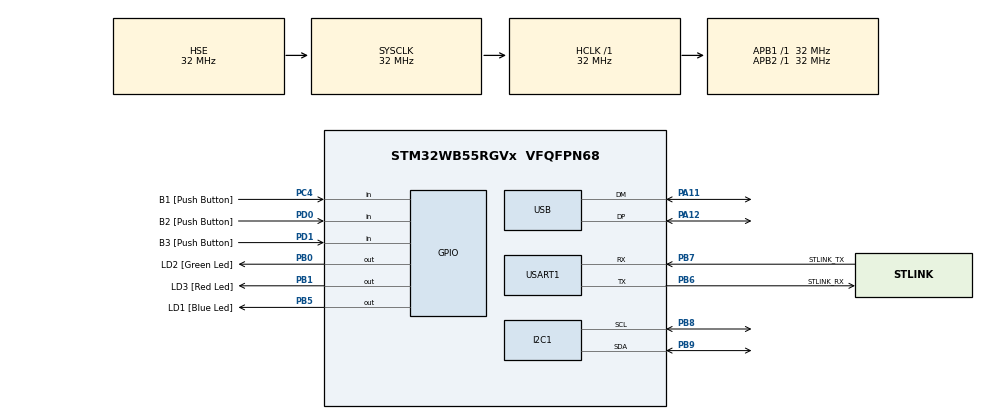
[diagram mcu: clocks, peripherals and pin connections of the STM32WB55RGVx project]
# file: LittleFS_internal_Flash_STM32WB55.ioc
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I2C1.Timing=0x00B07CB4
Mcu.Family=STM32WB
Mcu.Name=STM32WB55RGVx
Mcu.Package=VFQFPN68
NVIC.PriorityGroup=NVIC_PRIORITYGROUP_4
OSC_IN.Mode=HSE-External-Oscillator
OSC_IN.Signal=RCC_OSC_IN
OSC_OUT.Mode=HSE-External-Oscillator
OSC_OUT.Signal=RCC_OSC_OUT
PA11.Mode=Device
PA11.Signal=USB_DM
PA12.Mode=Device
PA12.Signal=USB_DP
PA13.GPIO_Label=JTMS
PA13.Mode=Serial_Wire
PA13.Signal=SYS_JTMS-SWDIO
PA14.GPIO_Label=JTCK
PA14.Mode=Serial_Wire
PA14.Signal=SYS_JTCK-SWCLK
PB0.GPIO_Label=LD2 [Green Led]
PB0.Signal=GPIO_Output
PB1.GPIO_Label=LD3 [Red Led]
PB1.Signal=GPIO_Output
PB3.GPIO_Label=JTDO
PB3.Signal=SYS_JTDO-SWO
PB5.GPIO_Label=LD1 [Blue Led]
PB5.Signal=GPIO_Output
PB6.GPIO_Label=STLINK_RX
PB6.GPIO_PuPd=GPIO_PULLUP
PB6.Mode=Asynchronous
PB6.Signal=USART1_TX
PB7.GPIO_Label=STLINK_TX
PB7.GPIO_PuPd=GPIO_PULLUP
PB7.Mode=Asynchronous
PB7.Signal=USART1_RX
PB8.Mode=I2C
PB8.Signal=I2C1_SCL
PB9.Mode=I2C
PB9.Signal=I2C1_SDA
PC13.Mode=SYS_WakeUp1
PC13.Signal=SYS_WKUP2
PC14-OSC32_IN.Mode=LSE-External-Oscillator
PC14-OSC32_IN.Signal=RCC_OSC32_IN
PC15-OSC32_OUT.Mode=LSE-External-Oscillator
PC15-OSC32_OUT.Signal=RCC_OSC32_OUT
PC4.GPIO_Label=B1 [Push Button]
PC4.Signal=GPIO_Input
PD0.GPIO_Label=B2 [Push Button]
PD0.Signal=GPIO_Input
PD1.GPIO_Label=B3 [Push Button]
PD1.Signal=GPIO_Input
ProjectManager.HeapSize=0x200
ProjectManager.StackSize=0x400
ProjectManager.TargetToolchain=STM32CubeIDE
RCC.ADCFreq_Value=48000000
RCC.AHBFreq_Value=32000000
RCC.APB1Freq_Value=32000000
RCC.APB1TimFreq_Value=32000000
RCC.APB2Freq_Value=32000000
RCC.APB2TimFreq_Value=32000000
RCC.APB3Freq_Value=16000000
RCC.CortexFreq_Value=32000000
RCC.HCLKFreq_Value=32000000
RCC.HSE_VALUE=32000000
RCC.HSI48_VALUE=48000000
RCC.HSI_VALUE=16000000
RCC.LSE_Drive_Capability=RCC_LSEDRIVE_LOW
RCC.PLLN=32
RCC.PLLSAI1N=24
RCC.SMPSCLockSelection=RCC_SMPSCLKSOURCE_HSI
RCC.SMPSCLockSelectionVirtual=RCC_SMPSCLKSOURCE_HSI
RCC.SMPSCLockSelectionVirtualVirtual=RCC_SMPSCLKSOURCE_HSI
RCC.SMPSDivider=1
RCC.SYSCLKFreq_VALUE=32000000
RCC.SYSCLKSource=RCC_SYSCLKSOURCE_HSE
RCC.USBFreq_Value=48000000
RCC.VCOOutputFreq_Value=128000000
RTC.Format=RTC_FORMAT_BIN
RTC.WeekDay=RTC_WEEKDAY_SUNDAY
USART1.VirtualMode-Asynchronous=VM_ASYNC
USART1.WordLength=WORDLENGTH_8B
VP_MEMORYMAP_VS_MEMORYMAP.Mode=CurAppReg
VP_RTC_VS_RTC_Activate.Mode=RTC_Enabled
VP_RTC_VS_RTC_Calendar.Mode=RTC_Calendar
board=NUCLEO-WB55RG

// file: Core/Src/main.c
/* USER CODE BEGIN Header */
/**
  ******************************************************************************
  * @file           : main.c
  * @brief          : Main program body
  ******************************************************************************
  * @attention
  *
  * Copyright (c) 2024 STMicroelectronics.
  * All rights reserved.
  *
  * This software is licensed under terms that can be found in the LICENSE file
  * in the root directory of this software component.
  * If no LICENSE file comes with this software, it is provided AS-IS.
  *
  ******************************************************************************
  */
/* USER CODE END Header */
#include "main.h"
#include "string.h"

/* USER CODE BEGIN Includes */
#include "lfs.h"
/* USER CODE END Includes */

/* USER CODE BEGIN PD */
#define LFS_START_ADDR  0x08070000  // Starting address for LittleFS storage
#define LFS_END_ADDR    0x0807FFFF  // Ending address for LittleFS storage
#define LFS_BLOCK_SIZE  4096      // Flash block (page) size (typically 4KB)
#define LFS_BLOCK_COUNT ((LFS_END_ADDR - LFS_START_ADDR + 1) / LFS_BLOCK_SIZE)
#define UART_BUFFER_SIZE 256

/* USER CODE END PD */

I2C_HandleTypeDef hi2c1;

RTC_HandleTypeDef hrtc;

UART_HandleTypeDef huart1;

PCD_HandleTypeDef hpcd_USB_FS;

/* USER CODE BEGIN PV */
const char *labels[2] = {"0", "1"}; //0 = bad 1 = good
char uartBuffer[UART_BUFFER_SIZE];
/* USER CODE END PV */

void SystemClock_Config(void);
void PeriphCommonClock_Config(void);
static void MX_GPIO_Init(void);
static void MX_USART1_UART_Init(void);
static void MX_USB_PCD_Init(void);
static void MX_I2C1_Init(void);
static void MX_RTC_Init(void);

/* USER CODE BEGIN 0 */
lfs_t lfs;
lfs_file_t file;

int _write(int32_t file, uint8_t *ptr, int32_t len)
{
    for (int i = 0; i < len; i++)
    {
        ITM_SendChar(*ptr++);
    }
    return len;
}

// Flash read, write, and erase functions
int user_provided_block_device_read(const struct lfs_config *c, lfs_block_t block,
                                    lfs_off_t off, void *readBuffer, lfs_size_t size) {
//    printf("Reading block %d, offset %d, size %d\n", block, off, size);
    memcpy(readBuffer, (const void*)(LFS_START_ADDR + (block *c->block_size) + off), size);
    return LFS_ERR_OK;
}

int user_provided_block_device_prog(const struct lfs_config *c, lfs_block_t block,
                                    lfs_off_t off, const void *readBuffer, lfs_size_t size) {
//    printf("Programming block %d, offset %d, size %d\n", block, off, size);
    HAL_FLASH_Unlock();
    for (size_t i = 0; i < size; i += 8) {
        HAL_FLASH_Program(FLASH_TYPEPROGRAM_DOUBLEWORD,
                          LFS_START_ADDR + (block *c->block_size) + off + i,
                          *(uint64_t *)(readBuffer + i));
    }
    HAL_FLASH_Lock();
    return LFS_ERR_OK;
}

int user_provided_block_device_erase(const struct lfs_config *c, lfs_block_t block) {
    FLASH_EraseInitTypeDef erase_init;
    uint32_t page_error = 0;

    HAL_FLASH_Unlock();

    uint32_t page = (LFS_START_ADDR + (block * c->block_size) - FLASH_BASE) / FLASH_PAGE_SIZE;
    erase_init.TypeErase = FLASH_TYPEERASE_PAGES;
    erase_init.Page = page;
    erase_init.NbPages = 1;

    HAL_FLASHEx_Erase(&erase_init, &page_error);

    HAL_FLASH_Lock();
    return 0;
}

int user_provided_block_device_sync(const struct lfs_config *c) {
    // No special sync logic needed, return 0
    return 0;
}

// Configuration struct
struct lfs_config cfg = {
    // Block device operations
    .read  = user_provided_block_device_read,
    .prog  = user_provided_block_device_prog,
    .erase = user_provided_block_device_erase,
    .sync  = user_provided_block_device_sync,

	// Start and size of LittleFS storage region
	.block_size = LFS_BLOCK_SIZE,
	.block_count = LFS_BLOCK_COUNT,
	.block_cycles = 100,  // You can adjust this based on expected erase cycles

	// Adjust according to your flash characteristics
	.read_size = 4,        // Smallest read size (e.g., 4 bytes)
	.prog_size = 4,        // Smallest programmable size (e.g., 4 bytes)
	.cache_size = 32,      // Adjust cache size (typical value is fine)
	.lookahead_size = 32,  // Adjust lookahead size (typical value is fine)

};

void set_date (uint8_t year, uint8_t month, uint8_t date, uint8_t day)  // monday = 1
{
	RTC_DateTypeDef sDate = {0};
	sDate.WeekDay = day;
	sDate.Month = month;
	sDate.Date = date;
	sDate.Year = year;
	if (HAL_RTC_SetDate(&hrtc, &sDate, RTC_FORMAT_BIN) != HAL_OK)
	{
		Error_Handler();
	}

	HAL_RTCEx_BKUPWrite(&hrtc, RTC_BKP_DR1, 5);  // backup register
}

void set_time (uint8_t hr, uint8_t min, uint8_t sec)
{
	RTC_TimeTypeDef sTime = {0};
	sTime.Hours = hr;
	sTime.Minutes = min;
	sTime.Seconds = sec;
	sTime.DayLightSaving = RTC_DAYLIGHTSAVING_NONE;
	sTime.StoreOperation = RTC_STOREOPERATION_RESET;
	if (HAL_RTC_SetTime(&hrtc, &sTime, RTC_FORMAT_BIN) != HAL_OK)
	{
		Error_Handler();
	}
}

void get_time_date(char *time, char *date)
{
  RTC_DateTypeDef gDate;
  RTC_TimeTypeDef gTime;

  /* Get the RTC current Time */
  HAL_RTC_GetTime(&hrtc, &gTime, RTC_FORMAT_BIN);
  /* Get the RTC current Date */
  HAL_RTC_GetDate(&hrtc, &gDate, RTC_FORMAT_BIN);

  /* Display time Format: hh:mm:ss */
  sprintf((char*)time,"%02d:%02d:%02d",gTime.Hours, gTime.Minutes, gTime.Seconds);

  /* Display date Format: dd-mm-yyyy */
  sprintf((char*)date,"%02d-%02d-%2d",gDate.Date, gDate.Month, 2000 + gDate.Year);
}

char timeData[15];
char dateData[15];

void transmit_file_via_uart(const char* filename) {
    lfs_file_t file;
    int err;

    // Open the file for reading
    err = lfs_file_open(&lfs, &file, filename, LFS_O_RDONLY);
    if (err) {
        printf("Failed to open file '%s' for reading: %d\n", filename, err);
        return;
    }

    // Determine the size of the file
    struct lfs_info info;
    err = lfs_stat(&lfs, filename, &info);
    if (err) {
        printf("Failed to stat file '%s': %d\n", filename, err);
        lfs_file_close(&lfs, &file);
        return;
    }

    printf("Transmitting file '%s' (%lu bytes)...\n", filename, info.size);

    // Allocate a buffer to read file data
    size_t bytes_to_read = info.size;
    size_t chunk_size = UART_BUFFER_SIZE; // Transmit in chunks
    size_t total_transmitted = 0;

    while (bytes_to_read > 0) {
        size_t current_chunk = (bytes_to_read > chunk_size) ? chunk_size : bytes_to_read;

        // Read a chunk of data from the file
        err = lfs_file_read(&lfs, &file, uartBuffer, current_chunk);
        if (err < 0) {
            printf("Failed to read from file: %d\n", err);
            lfs_file_close(&lfs, &file);
            return;
        }

        // Transmit the chunk over UART
        err = HAL_UART_Transmit(&huart1, (uint8_t*)uartBuffer, err, HAL_MAX_DELAY);
        if (err != HAL_OK) {
            printf("UART Transmit Error: %d\n", err);
            lfs_file_close(&lfs, &file);
            return;
        }

        total_transmitted += err;
        bytes_to_read -= err;
    }

    printf("File transmission complete. Total bytes transmitted: %lu\n", total_transmitted);

    // Close the file
    lfs_file_close(&lfs, &file);
}
/* USER CODE END 0 */

int main(void)
{

  /* MCU Configuration--------------------------------------------------------*/

  /* Reset of all peripherals, Initializes the Flash interface and the Systick. */
  HAL_Init();

  /* Configure the system clock */
  SystemClock_Config();

  /* Configure the peripherals common clocks */
  PeriphCommonClock_Config();

  /* Initialize all configured peripherals */
  MX_GPIO_Init();
  MX_USART1_UART_Init();
  MX_USB_PCD_Init();
  MX_I2C1_Init();
  MX_RTC_Init();
  /* USER CODE BEGIN 2 */
  // readBuffer to store read data
  char readBuffer[200];
  char writeBuffer[45];
   // Unlock the Flash memory for writing
  HAL_FLASH_Unlock();

  //=============================Mount the filesystem
  int err = lfs_mount(&lfs, &cfg);
  if (err) {
	  lfs_format(&lfs, &cfg);
	  lfs_mount(&lfs, &cfg);
  }

  if (HAL_RTCEx_BKUPRead(&hrtc, RTC_BKP_DR1) != 5)
   {
     HAL_GPIO_TogglePin(LD2_GPIO_Port, LD2_Pin);
     HAL_Delay(100);
     set_time(15, 27, 00);
     set_date(24, 10, 2, 7);
     //=========================== write log coloumn
   const char *data1 = "timestamp,label,data1,data2 \r\n!";
   lfs_file_open(&lfs, &file, "result1.csv", LFS_O_WRONLY | LFS_O_CREAT | LFS_O_TRUNC);
   lfs_file_write(&lfs, &file, data1, strlen(data1));
   lfs_file_close(&lfs, &file);
   }

   else
   {
     HAL_GPIO_TogglePin(LD1_GPIO_Port, LD1_Pin);
 	HAL_Delay(100);
   }

  get_time_date(timeData, dateData);

  //===========================Append file (wronly+append)
  sprintf(writeBuffer, "%s,%s,%s,%.1f,%.1f\n", dateData, timeData, labels[1], 90.1, 19.9);
  lfs_file_open(&lfs, &file, "result1.csv", LFS_O_WRONLY | LFS_O_APPEND);
  lfs_file_write(&lfs, &file, writeBuffer, strlen(writeBuffer));
  lfs_file_close(&lfs, &file);

//  lfs_file_open(&lfs, &file, "result1.csv", LFS_O_RDONLY);
//  memset(readBuffer, 0, sizeof(readBuffer));
//  lfs_file_read(&lfs, &file, readBuffer, sizeof(readBuffer));
//  lfs_file_close(&lfs, &file);
//  HAL_UART_Transmit(&huart1, (const uint8_t*)readBuffer, sizeof(readBuffer), 100);
//  HAL_Delay(500);

  // Example: Transmit a specific file
  transmit_file_via_uart("result1.csv");
  // Unmount the filesystem
  lfs_unmount(&lfs);

  // Lock the Flash memory to protect it
  HAL_FLASH_Lock();
  /* USER CODE END 2 */

  /* Infinite loop */
  while (1)
  {

    /* USER CODE BEGIN 3 */

    /* USER CODE END WHILE */

    /* USER CODE BEGIN 3 */
  }

  /* USER CODE END 3 */
}

void SystemClock_Config(void)
{
  RCC_OscInitTypeDef RCC_OscInitStruct = {0};
  RCC_ClkInitTypeDef RCC_ClkInitStruct = {0};

  /** Macro to configure the PLL multiplication factor
  */
  __HAL_RCC_PLL_PLLM_CONFIG(RCC_PLLM_DIV1);

  /** Macro to configure the PLL clock source
  */
  __HAL_RCC_PLL_PLLSOURCE_CONFIG(RCC_PLLSOURCE_MSI);

  /** Configure LSE Drive Capability
  */
  HAL_PWR_EnableBkUpAccess();
  __HAL_RCC_LSEDRIVE_CONFIG(RCC_LSEDRIVE_LOW);

  /** Configure the main internal regulator output voltage
  */
  __HAL_PWR_VOLTAGESCALING_CONFIG(PWR_REGULATOR_VOLTAGE_SCALE1);

  /** Initializes the RCC Oscillators according to the specified parameters
  * in the RCC_OscInitTypeDef structure.
  */
  RCC_OscInitStruct.OscillatorType = RCC_OSCILLATORTYPE_HSI|RCC_OSCILLATORTYPE_LSI1
                              |RCC_OSCILLATORTYPE_HSE|RCC_OSCILLATORTYPE_LSE
                              |RCC_OSCILLATORTYPE_MSI;
  RCC_OscInitStruct.HSEState = RCC_HSE_ON;
  RCC_OscInitStruct.LSEState = RCC_LSE_ON;
  RCC_OscInitStruct.HSIState = RCC_HSI_ON;
  RCC_OscInitStruct.MSIState = RCC_MSI_ON;
  RCC_OscInitStruct.HSICalibrationValue = RCC_HSICALIBRATION_DEFAULT;
  RCC_OscInitStruct.MSICalibrationValue = RCC_MSICALIBRATION_DEFAULT;
  RCC_OscInitStruct.MSIClockRange = RCC_MSIRANGE_6;
  RCC_OscInitStruct.LSIState = RCC_LSI_ON;
  RCC_OscInitStruct.PLL.PLLState = RCC_PLL_NONE;
  if (HAL_RCC_OscConfig(&RCC_OscInitStruct) != HAL_OK)
  {
    Error_Handler();
  }

  /** Configure the SYSCLKSource, HCLK, PCLK1 and PCLK2 clocks dividers
  */
  RCC_ClkInitStruct.ClockType = RCC_CLOCKTYPE_HCLK4|RCC_CLOCKTYPE_HCLK2
                              |RCC_CLOCKTYPE_HCLK|RCC_CLOCKTYPE_SYSCLK
                              |RCC_CLOCKTYPE_PCLK1|RCC_CLOCKTYPE_PCLK2;
  RCC_ClkInitStruct.SYSCLKSource = RCC_SYSCLKSOURCE_HSE;
  RCC_ClkInitStruct.AHBCLKDivider = RCC_SYSCLK_DIV1;
  RCC_ClkInitStruct.APB1CLKDivider = RCC_HCLK_DIV1;
  RCC_ClkInitStruct.APB2CLKDivider = RCC_HCLK_DIV1;
  RCC_ClkInitStruct.AHBCLK2Divider = RCC_SYSCLK_DIV1;
  RCC_ClkInitStruct.AHBCLK4Divider = RCC_SYSCLK_DIV1;

  if (HAL_RCC_ClockConfig(&RCC_ClkInitStruct, FLASH_LATENCY_1) != HAL_OK)
  {
    Error_Handler();
  }

  /** Enable MSI Auto calibration
  */
  HAL_RCCEx_EnableMSIPLLMode();
}

void PeriphCommonClock_Config(void)
{
  RCC_PeriphCLKInitTypeDef PeriphClkInitStruct = {0};

  /** Initializes the peripherals clock
  */
  PeriphClkInitStruct.PeriphClockSelection = RCC_PERIPHCLK_SMPS;
  PeriphClkInitStruct.SmpsClockSelection = RCC_SMPSCLKSOURCE_HSI;
  PeriphClkInitStruct.SmpsDivSelection = RCC_SMPSCLKDIV_RANGE0;

  if (HAL_RCCEx_PeriphCLKConfig(&PeriphClkInitStruct) != HAL_OK)
  {
    Error_Handler();
  }
}

static void MX_I2C1_Init(void)
{

  hi2c1.Instance = I2C1;
  hi2c1.Init.Timing = 0x00B07CB4;
  hi2c1.Init.OwnAddress1 = 0;
  hi2c1.Init.AddressingMode = I2C_ADDRESSINGMODE_7BIT;
  hi2c1.Init.DualAddressMode = I2C_DUALADDRESS_DISABLE;
  hi2c1.Init.OwnAddress2 = 0;
  hi2c1.Init.OwnAddress2Masks = I2C_OA2_NOMASK;
  hi2c1.Init.GeneralCallMode = I2C_GENERALCALL_DISABLE;
  hi2c1.Init.NoStretchMode = I2C_NOSTRETCH_DISABLE;
  if (HAL_I2C_Init(&hi2c1) != HAL_OK)
  {
    Error_Handler();
  }

  /** Configure Analogue filter
  */
  if (HAL_I2CEx_ConfigAnalogFilter(&hi2c1, I2C_ANALOGFILTER_ENABLE) != HAL_OK)
  {
    Error_Handler();
  }

  /** Configure Digital filter
  */
  if (HAL_I2CEx_ConfigDigitalFilter(&hi2c1, 0) != HAL_OK)
  {
    Error_Handler();
  }

}

static void MX_RTC_Init(void)
{

  RTC_TimeTypeDef sTime = {0};
  RTC_DateTypeDef sDate = {0};

  /** Initialize RTC Only
  */
  hrtc.Instance = RTC;
  hrtc.Init.HourFormat = RTC_HOURFORMAT_24;
  hrtc.Init.AsynchPrediv = 127;
  hrtc.Init.SynchPrediv = 255;
  hrtc.Init.OutPut = RTC_OUTPUT_DISABLE;
  hrtc.Init.OutPutPolarity = RTC_OUTPUT_POLARITY_HIGH;
  hrtc.Init.OutPutType = RTC_OUTPUT_TYPE_OPENDRAIN;
  hrtc.Init.OutPutRemap = RTC_OUTPUT_REMAP_NONE;
  if (HAL_RTC_Init(&hrtc) != HAL_OK)
  {
    Error_Handler();
  }

  /** Initialize RTC and set the Time and Date
  */
//  sTime.Hours = 0;
//  sTime.Minutes = 0;
//  sTime.Seconds = 0;
//  sTime.SubSeconds = 0x0;
//  sTime.DayLightSaving = RTC_DAYLIGHTSAVING_NONE;
//  sTime.StoreOperation = RTC_STOREOPERATION_RESET;
//  if (HAL_RTC_SetTime(&hrtc, &sTime, RTC_FORMAT_BIN) != HAL_OK)
//  {
//    Error_Handler();
//  }
//  sDate.WeekDay = RTC_WEEKDAY_SUNDAY;
//  sDate.Month = RTC_MONTH_JANUARY;
//  sDate.Date = 1;
//  sDate.Year = 0;
//
//  if (HAL_RTC_SetDate(&hrtc, &sDate, RTC_FORMAT_BIN) != HAL_OK)
//  {
//    Error_Handler();
//  }

}

static void MX_USART1_UART_Init(void)
{

  huart1.Instance = USART1;
  huart1.Init.BaudRate = 115200;
  huart1.Init.WordLength = UART_WORDLENGTH_8B;
  huart1.Init.StopBits = UART_STOPBITS_1;
  huart1.Init.Parity = UART_PARITY_NONE;
  huart1.Init.Mode = UART_MODE_TX_RX;
  huart1.Init.HwFlowCtl = UART_HWCONTROL_NONE;
  huart1.Init.OverSampling = UART_OVERSAMPLING_16;
  huart1.Init.OneBitSampling = UART_ONE_BIT_SAMPLE_DISABLE;
  huart1.Init.ClockPrescaler = UART_PRESCALER_DIV1;
  huart1.AdvancedInit.AdvFeatureInit = UART_ADVFEATURE_NO_INIT;
  if (HAL_UART_Init(&huart1) != HAL_OK)
  {
    Error_Handler();
  }
  if (HAL_UARTEx_SetTxFifoThreshold(&huart1, UART_TXFIFO_THRESHOLD_1_8) != HAL_OK)
  {
    Error_Handler();
  }
  if (HAL_UARTEx_SetRxFifoThreshold(&huart1, UART_RXFIFO_THRESHOLD_1_8) != HAL_OK)
  {
    Error_Handler();
  }
  if (HAL_UARTEx_DisableFifoMode(&huart1) != HAL_OK)
  {
    Error_Handler();
  }

}

static void MX_USB_PCD_Init(void)
{

  hpcd_USB_FS.Instance = USB;
  hpcd_USB_FS.Init.dev_endpoints = 8;
  hpcd_USB_FS.Init.speed = PCD_SPEED_FULL;
  hpcd_USB_FS.Init.phy_itface = PCD_PHY_EMBEDDED;
  hpcd_USB_FS.Init.Sof_enable = DISABLE;
  hpcd_USB_FS.Init.low_power_enable = DISABLE;
  hpcd_USB_FS.Init.lpm_enable = DISABLE;
  hpcd_USB_FS.Init.battery_charging_enable = DISABLE;
  if (HAL_PCD_Init(&hpcd_USB_FS) != HAL_OK)
  {
    Error_Handler();
  }

}

static void MX_GPIO_Init(void)
{
  GPIO_InitTypeDef GPIO_InitStruct = {0};

  /* GPIO Ports Clock Enable */
  __HAL_RCC_GPIOC_CLK_ENABLE();
  __HAL_RCC_GPIOB_CLK_ENABLE();
  __HAL_RCC_GPIOA_CLK_ENABLE();
  __HAL_RCC_GPIOD_CLK_ENABLE();

  /*Configure GPIO pin Output Level */
  HAL_GPIO_WritePin(GPIOB, LD2_Pin|LD3_Pin|LD1_Pin, GPIO_PIN_RESET);

  /*Configure GPIO pin : B1_Pin */
  GPIO_InitStruct.Pin = B1_Pin;
  GPIO_InitStruct.Mode = GPIO_MODE_INPUT;
  GPIO_InitStruct.Pull = GPIO_NOPULL;
  HAL_GPIO_Init(B1_GPIO_Port, &GPIO_InitStruct);

  /*Configure GPIO pins : LD2_Pin LD3_Pin LD1_Pin */
  GPIO_InitStruct.Pin = LD2_Pin|LD3_Pin|LD1_Pin;
  GPIO_InitStruct.Mode = GPIO_MODE_OUTPUT_PP;
  GPIO_InitStruct.Pull = GPIO_NOPULL;
  GPIO_InitStruct.Speed = GPIO_SPEED_FREQ_LOW;
  HAL_GPIO_Init(GPIOB, &GPIO_InitStruct);

  /*Configure GPIO pins : B2_Pin B3_Pin */
  GPIO_InitStruct.Pin = B2_Pin|B3_Pin;
  GPIO_InitStruct.Mode = GPIO_MODE_INPUT;
  GPIO_InitStruct.Pull = GPIO_NOPULL;
  HAL_GPIO_Init(GPIOD, &GPIO_InitStruct);

}

void Error_Handler(void)
{
  __disable_irq();
  while (1)
  {
  }
}
